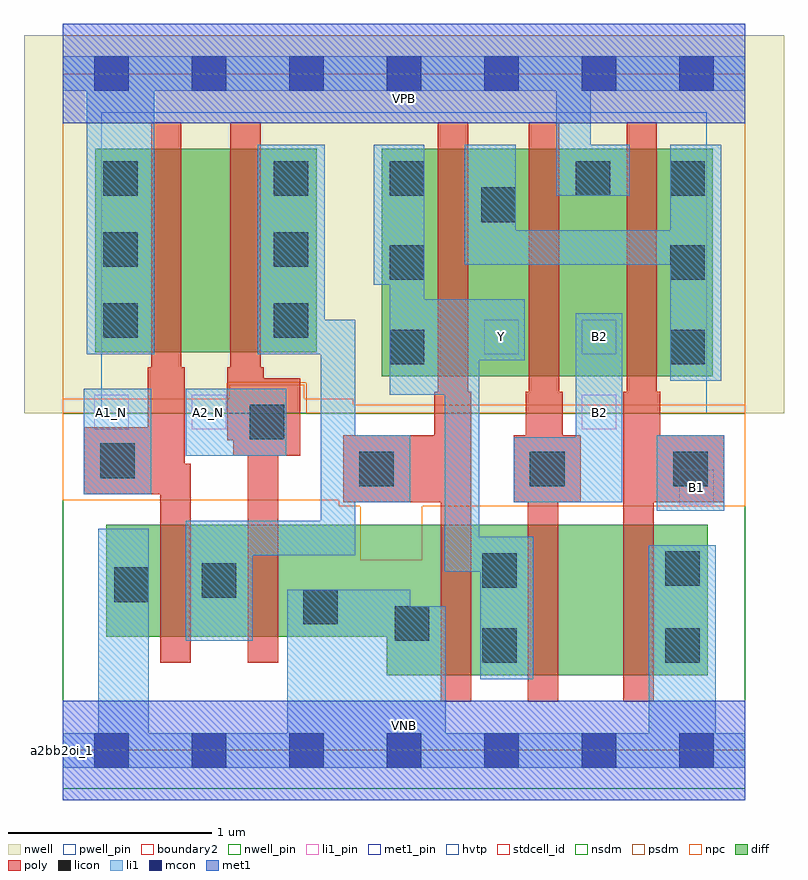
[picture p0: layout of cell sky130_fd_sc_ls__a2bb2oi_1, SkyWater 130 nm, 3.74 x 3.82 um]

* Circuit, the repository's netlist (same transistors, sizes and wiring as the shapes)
* Copyright 2020 The SkyWater PDK Authors
*
* Licensed under the Apache License, Version 2.0 (the "License");
* you may not use this file except in compliance with the License.
* You may obtain a copy of the License at
*
*     https://www.apache.org/licenses/LICENSE-2.0
*
* Unless required by applicable law or agreed to in writing, software
* distributed under the License is distributed on an "AS IS" BASIS,
* WITHOUT WARRANTIES OR CONDITIONS OF ANY KIND, either express or implied.
* See the License for the specific language governing permissions and
* limitations under the License.
*
* SPDX-License-Identifier: Apache-2.0

.SUBCKT sky130_fd_sc_ls__a2bb2oi_1 A1_N A2_N B1 B2 VGND VNB VPB VPWR Y
*.PININFO A1_N:I A2_N:I B1:I B2:I VGND:I VNB:I VPB:I VPWR:I Y:O
MMNnor0 inor A1_N VGND VNB sky130_fd_pr__nfet_01v8 m=1 w=0.55U l=0.15U mult=1 sa=0.265
+ sb=0.265 sd=0.28 area=0.063 perim=1.14
MMNnor1 inor A2_N VGND VNB sky130_fd_pr__nfet_01v8 m=1 w=0.55U l=0.15U mult=1 sa=0.265
+ sb=0.265 sd=0.28 area=0.063 perim=1.14
MMNaoi10 VGND B1 sndNB1 VNB sky130_fd_pr__nfet_01v8 m=1 w=0.74U l=0.15U mult=1
+ sa=0.265 sb=0.265 sd=0.28 area=0.063 perim=1.14
MMNaoi11 sndNB1 B2 Y VNB sky130_fd_pr__nfet_01v8 m=1 w=0.74U l=0.15U mult=1 sa=0.265
+ sb=0.265 sd=0.28 area=0.063 perim=1.14
MMNaoi20 Y inor VGND VNB sky130_fd_pr__nfet_01v8 m=1 w=0.74U l=0.15U mult=1 sa=0.265
+ sb=0.265 sd=0.28 area=0.063 perim=1.14
MMPnor0 VPWR A1_N sndPA1N VPB sky130_fd_pr__pfet_01v8_hvt m=1 w=1.0U l=0.15U mult=1
+ sa=0.265 sb=0.265 sd=0.28 area=0.063 perim=1.14
MMPnor1 sndPA1N A2_N inor VPB sky130_fd_pr__pfet_01v8_hvt m=1 w=1.0U l=0.15U mult=1
+ sa=0.265 sb=0.265 sd=0.28 area=0.063 perim=1.14
MMPaoi10 pmid B1 VPWR VPB sky130_fd_pr__pfet_01v8_hvt m=1 w=1.12U l=0.15U mult=1
+ sa=0.265 sb=0.265 sd=0.28 area=0.063 perim=1.14
MMPaoi11 pmid B2 VPWR VPB sky130_fd_pr__pfet_01v8_hvt m=1 w=1.12U l=0.15U mult=1
+ sa=0.265 sb=0.265 sd=0.28 area=0.063 perim=1.14
MMPaoi20 Y inor pmid VPB sky130_fd_pr__pfet_01v8_hvt m=1 w=1.12U l=0.15U mult=1
+ sa=0.265 sb=0.265 sd=0.28 area=0.063 perim=1.14
.ENDS sky130_fd_sc_ls__a2bb2oi_1

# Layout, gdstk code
import gdstk
lib = gdstk.Library(unit=1e-6, precision=1e-09)
def R(c, l, rs):  # rectangles x0, y0, x1, y1
    for r in rs: c.add(gdstk.rectangle(r[:2], r[2:], *l))
def A(c, l, x, y, w, h, nx, ny, dx, dy):  # array of equal rectangles
    R(c, l, [(x+i*dx, y+j*dy, x+i*dx+w, y+j*dy+h) for i in range(nx) for j in range(ny)])
def P(c, l, *ps):  # polygons
    for p in ps: c.add(gdstk.Polygon(p, *l))
nwell_pin = (64, 16)
nwell = (64, 20)
diff = (65, 20)
poly = (66, 20)
licon = (66, 44)
li1_pin = (67, 16)
li1 = (67, 20)
mcon = (67, 44)
met1_pin = (68, 16)
met1 = (68, 20)
hvtp = (78, 44)
stdcell_id = (81, 4)
nsdm = (93, 44)
psdm = (94, 20)
npc = (95, 20)
pwell_pin = (122, 16)
boundary2 = (236, 0)

sky130_fd_sc_ls__a2bb2oi = lib.new_cell('sky130_fd_sc_ls__a2bb2oi_1')
R(sky130_fd_sc_ls__a2bb2oi, nwell_pin, [(0,3.085,3.36,3.33)])
R(sky130_fd_sc_ls__a2bb2oi, nwell, [(-0.19,1.66,3.55,3.52)])
R(sky130_fd_sc_ls__a2bb2oi, diff, [(1.57,1.84,3.2,2.96), (0.16,1.96,1.25,2.96)])
P(sky130_fd_sc_ls__a2bb2oi, diff, [(3.175,1.11),(0.215,1.11),(0.215,0.56),(1.595,0.56),(1.595,0.37),(3.175,0.37)])
P(sky130_fd_sc_ls__a2bb2oi, poly, [(3.255,1.55),(2.94,1.55),(2.94,1.765),(2.925,1.765),(2.925,3.09),(2.775,3.09),(2.775,1.765),(2.76,1.765),(2.76,0.24),(2.91,0.24),(2.91,1.22),(3.255,1.22)],
  [(2.55,1.55),(2.46,1.55),(2.46,1.765),(2.445,1.765),(2.445,3.09),(2.295,3.09),(2.295,1.765),(2.28,1.765),(2.28,1.55),(2.22,1.55),(2.22,1.22),(2.29,1.22),(2.29,0.24),(2.44,0.24),(2.44,1.22),(2.55,1.22)],
  [(2.01,1.765),(1.995,1.765),(1.995,3.09),(1.845,3.09),(1.845,1.765),(1.83,1.765),(1.83,1.55),(1.38,1.55),(1.38,1.22),(1.86,1.22),(1.86,0.24),(2.01,0.24)],
  [(1.17,1.83),(0.99,1.83),(0.99,1.885),(0.975,1.885),(0.975,3.09),(0.825,3.09),(0.825,1.885),(0.81,1.885),(0.81,1.525),(0.84,1.525),(0.84,1.45),(0.91,1.45),(0.91,0.43),(1.06,0.43),(1.06,1.45),(1.17,1.45)],
  [(0.63,1.41),(0.6,1.41),(0.6,1.885),(0.585,1.885),(0.585,3.09),(0.435,3.09),(0.435,1.885),(0.42,1.885),(0.42,1.59),(0.105,1.59),(0.105,1.26),(0.48,1.26),(0.48,0.43),(0.63,0.43)])
A(sky130_fd_sc_ls__a2bb2oi, licon, 1.61, 1.9, 0.17, 0.17, 1, 3, 0, 0.415)
A(sky130_fd_sc_ls__a2bb2oi, licon, 2.99, 1.9, 0.17, 0.17, 1, 3, 0, 0.415)
A(sky130_fd_sc_ls__a2bb2oi, licon, 0.2, 2.03, 0.17, 0.17, 1, 3, 0, 0.35)
A(sky130_fd_sc_ls__a2bb2oi, licon, 1.04, 2.03, 0.17, 0.17, 1, 3, 0, 0.35)
R(sky130_fd_sc_ls__a2bb2oi, licon, [(2.065,0.43,2.235,0.6), (2.965,0.43,3.135,0.6), (1.635,0.54,1.805,0.71), (1.185,0.62,1.355,0.79), (0.255,0.73,0.425,0.9), (0.685,0.75,0.855,0.92), (2.065,0.8,2.235,0.97), (2.965,0.81,3.135,0.98), (1.46,1.3,1.63,1.47), (2.3,1.3,2.47,1.47), (3.005,1.3,3.175,1.47), (0.185,1.34,0.355,1.51), (0.92,1.53,1.09,1.7), (2.06,2.6,2.23,2.77), (2.525,2.73,2.695,2.9)])
R(sky130_fd_sc_ls__a2bb2oi, li1_pin, [(3.035,1.21,3.205,1.38), (0.155,1.58,0.325,1.75), (0.635,1.58,0.805,1.75), (2.555,1.58,2.725,1.75), (2.075,1.95,2.245,2.12), (2.555,1.95,2.725,2.12)])
R(sky130_fd_sc_ls__a2bb2oi, li1, [(2.925,1.18,3.255,1.55), (0.105,1.26,0.435,1.78), (0.605,1.45,1.1,1.78)])
P(sky130_fd_sc_ls__a2bb2oi, li1, [(0.12,1.95),(0.12,3.245),(0,3.245),(0,3.415),(3.36,3.415),(3.36,3.245),(2.6,3.245),(2.6,2.98),(2.79,2.98),(2.79,2.73),(2.43,2.73),(2.43,3.245),(0.45,3.245),(0.45,1.95)],
  [(2.315,1.05),(2.05,1.05),(2.05,1.92),(2.275,1.92),(2.275,2.22),(1.78,2.22),(1.78,2.98),(1.53,2.98),(1.53,2.29),(1.61,2.29),(1.61,1.75),(1.88,1.75),(1.88,0.88),(2.055,0.88),(2.055,0.35),(2.315,0.35)],
  [(1.71,1.55),(1.44,1.55),(1.44,2.12),(1.29,2.12),(1.29,2.98),(0.96,2.98),(0.96,1.95),(1.27,1.95),(1.27,1.13),(0.605,1.13),(0.605,0.54),(0.935,0.54),(0.935,0.96),(1.44,0.96),(1.44,1.22),(1.71,1.22)],
  [(2.99,1.82),(2.99,2.39),(1.98,2.39),(1.98,2.98),(2.23,2.98),(2.23,2.56),(2.99,2.56),(2.99,2.98),(3.24,2.98),(3.24,1.82)],
  [(2.525,1.54),(2.525,2.15),(2.755,2.15),(2.755,1.22),(2.22,1.22),(2.22,1.54)],
  [(3.36,0.085),(3.215,0.085),(3.215,1.01),(2.885,1.01),(2.885,0.085),(1.885,0.085),(1.885,0.71),(1.71,0.71),(1.71,0.79),(1.105,0.79),(1.105,0.085),(0.425,0.085),(0.425,1.09),(0.175,1.09),(0.175,0.085),(0,0.085),(0,-0.085),(3.36,-0.085)])
A(sky130_fd_sc_ls__a2bb2oi, mcon, 0.155, -0.085, 0.17, 0.17, 7, 2, 0.48, 3.33)
R(sky130_fd_sc_ls__a2bb2oi, met1_pin, [(0,0,3.36,0.245), (0,3.085,3.36,3.33)])
R(sky130_fd_sc_ls__a2bb2oi, met1, [(0,-0.245,3.36,0.245), (0,3.085,3.36,3.575)])
R(sky130_fd_sc_ls__a2bb2oi, hvtp, [(0.19,1.66,3.17,3.14)])
R(sky130_fd_sc_ls__a2bb2oi, stdcell_id, [(0,0,3.36,3.33)])
R(sky130_fd_sc_ls__a2bb2oi, nsdm, [(0,-0.19,3.36,1.66)])
P(sky130_fd_sc_ls__a2bb2oi, psdm, [(3.36,3.52),(0,3.52),(0,1.66),(0.81,1.66),(0.81,1.81),(1.2,1.81),(1.2,1.66),(3.36,1.66)])
P(sky130_fd_sc_ls__a2bb2oi, npc, [(3.36,1.7),(1.43,1.7),(1.43,1.73),(1.19,1.73),(1.19,1.8),(0.82,1.8),(0.82,1.73),(0,1.73),(0,1.23),(1.36,1.23),(1.36,1.2),(1.465,1.2),(1.465,0.935),(1.77,0.935),(1.77,1.2),(3.36,1.2)])
R(sky130_fd_sc_ls__a2bb2oi, pwell_pin, [(0,0,3.36,0.245)])
R(sky130_fd_sc_ls__a2bb2oi, boundary2, [(0,0,3.36,3.33)])
sky130_fd_sc_ls__a2bb2oi.add(gdstk.Label('a2bb2oi_1', (0,0), layer=83, texttype=44))
sky130_fd_sc_ls__a2bb2oi.add(gdstk.Label('VNB', (1.68,0.123), layer=64, texttype=59))
sky130_fd_sc_ls__a2bb2oi.add(gdstk.Label('VPB', (1.68,3.208), layer=64, texttype=5))
sky130_fd_sc_ls__a2bb2oi.add(gdstk.Label('VPWR', (1.68,3.208), layer=68, texttype=5))
sky130_fd_sc_ls__a2bb2oi.add(gdstk.Label('VGND', (1.68,0.123), layer=68, texttype=5))
sky130_fd_sc_ls__a2bb2oi.add(gdstk.Label('Y', (2.16,2.035), layer=67, texttype=5))
sky130_fd_sc_ls__a2bb2oi.add(gdstk.Label('A2_N', (0.72,1.665), layer=67, texttype=5))
sky130_fd_sc_ls__a2bb2oi.add(gdstk.Label('A1_N', (0.24,1.665), layer=67, texttype=5))
sky130_fd_sc_ls__a2bb2oi.add(gdstk.Label('B2', (2.64,1.665), layer=67, texttype=5))
sky130_fd_sc_ls__a2bb2oi.add(gdstk.Label('B2', (2.64,2.035), layer=67, texttype=5))
sky130_fd_sc_ls__a2bb2oi.add(gdstk.Label('B1', (3.12,1.295), layer=67, texttype=5))

lib.write_gds('sky130_fd_sc_ls__a2bb2oi_1.gds')
